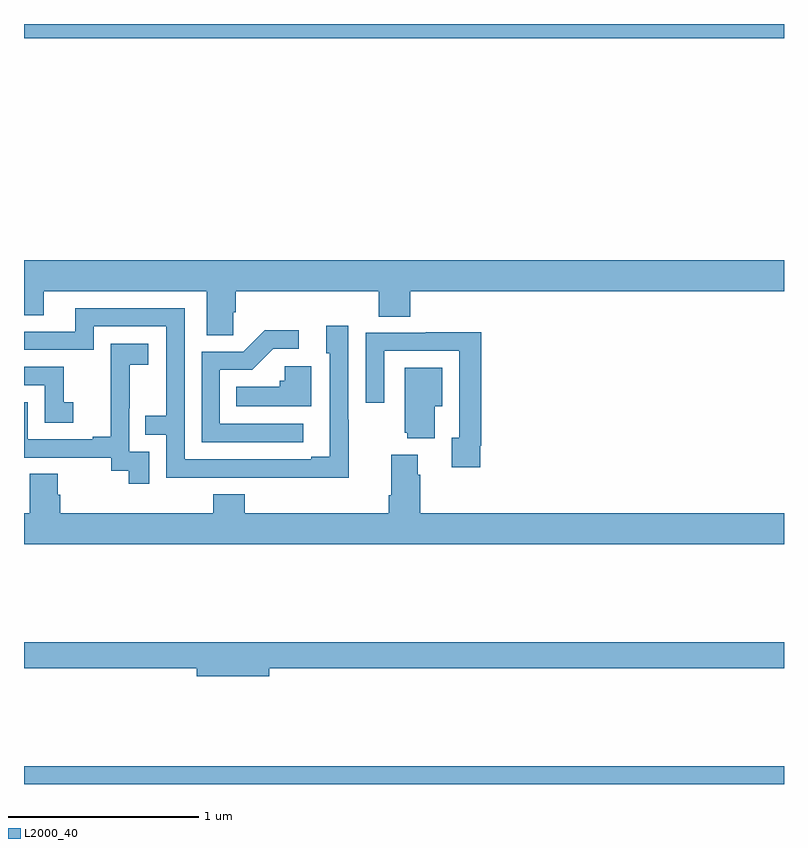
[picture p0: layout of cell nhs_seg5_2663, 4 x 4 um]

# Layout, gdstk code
import gdstk
lib = gdstk.Library(unit=1e-6, precision=1e-09)
def R(c, l, rs):  # rectangles x0, y0, x1, y1
    for r in rs: c.add(gdstk.rectangle(r[:2], r[2:], *l))
def P(c, l, *ps):  # polygons
    for p in ps: c.add(gdstk.Polygon(p, *l))
L2000_40 = (2000, 40)

nhs_seg5_2663 = lib.new_cell('nhs_seg5_2663')
R(nhs_seg5_2663, L2000_40, [(265,888.799,269,888.892), (265,892.724,269,892.799)])
P(nhs_seg5_2663, L2000_40, [(266.1,891.283),(266.114,891.283),(266.114,891.392),(266.867,891.392),(266.867,891.259),(267.032,891.259),(267.032,891.392),(269,891.392),(269,891.556),(265,891.556),(265,891.265),(265.105,891.265),(265.105,891.392),(265.961,891.392),(265.961,891.16),(266.1,891.16)],
  [(266.709,890.717),(266.706,890.717),(266.706,891.211),(266.591,891.211),(266.591,891.066),(266.61,891.066),(266.61,890.521),(266.513,890.521),(266.513,890.508),(265.845,890.508),(265.845,891.303),(265.271,891.303),(265.271,891.18),(265,891.18),(265,891.084),(265.368,891.084),(265.368,891.207),(265.749,891.207),(265.749,890.738),(265.639,890.738),(265.639,890.637),(265.749,890.637),(265.749,890.412),(266.245,890.412),(266.245,890.411),(266.709,890.411)],
  [(266.47,890.694),(266.031,890.694),(266.031,890.979),(266.2,890.979),(266.311,891.09),(266.446,891.09),(266.446,891.188),(266.267,891.188),(266.154,891.075),(265.935,891.075),(265.935,890.598),(266.47,890.598)],
  [(267.4,890.578),(267.407,890.578),(267.407,891.176),(267.115,891.176),(267.115,891.174),(266.799,891.174),(266.799,890.805),(266.895,890.805),(266.895,891.078),(267.291,891.078),(267.291,890.622),(267.251,890.622),(267.251,890.466),(267.4,890.466)],
  [(265.659,890.547),(265.554,890.547),(265.554,890.777),(265.556,890.777),(265.556,891.005),(265.654,891.005),(265.654,891.115),(265.456,891.115),(265.456,890.909),(265.457,890.909),(265.457,890.626),(265.361,890.626),(265.361,890.613),(265.02,890.613),(265.02,890.808),(265,890.808),(265,890.517),(265.458,890.517),(265.458,890.449),(265.551,890.449),(265.551,890.379),(265.659,890.379)],
  [(266.512,890.998),(266.373,890.998),(266.373,890.922),(266.347,890.922),(266.347,890.89),(266.116,890.89),(266.116,890.786),(266.512,890.786)],
  [(265.258,890.809),(265.209,890.809),(265.209,890.994),(265,890.994),(265,890.898),(265.11,890.898),(265.11,890.7),(265.258,890.7)],
  [(267.163,890.786),(267.202,890.786),(267.202,890.989),(267.005,890.989),(267.005,890.649),(267.017,890.649),(267.017,890.618),(267.163,890.618)],
  [(269,890.224),(267.086,890.224),(267.086,890.426),(267.073,890.426),(267.073,890.533),(266.933,890.533),(266.933,890.32),(266.921,890.32),(266.921,890.224),(266.162,890.224),(266.162,890.323),(265.997,890.323),(265.997,890.224),(265.19,890.224),(265.19,890.322),(265.177,890.322),(265.177,890.432),(265.03,890.432),(265.03,890.224),(265,890.224),(265,890.06),(269,890.06)],
  [(266.29,889.408),(269,889.408),(269,889.544),(265,889.544),(265,889.408),(265.91,889.408),(265.91,889.366),(266.29,889.366)])

lib.write_gds('nhs_seg5_2663.gds')
